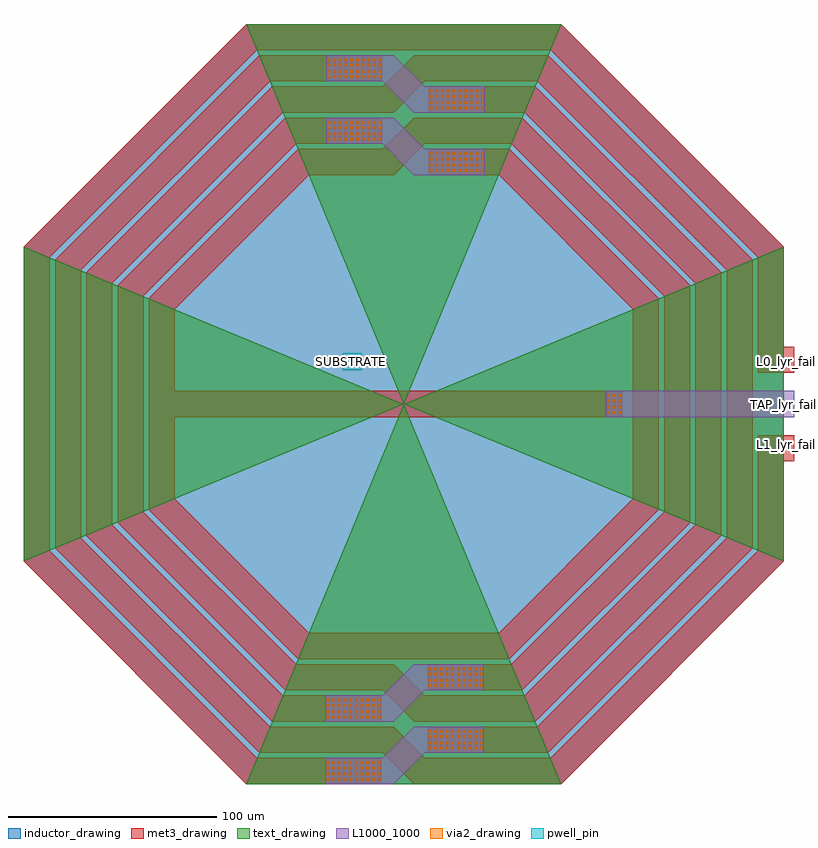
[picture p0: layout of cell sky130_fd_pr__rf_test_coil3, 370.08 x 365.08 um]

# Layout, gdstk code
import gdstk
lib = gdstk.Library(unit=1e-6, precision=1e-09)
def R(c, l, rs):  # rectangles x0, y0, x1, y1
    for r in rs: c.add(gdstk.rectangle(r[:2], r[2:], *l))
def A(c, l, x, y, w, h, nx, ny, dx, dy):  # array of equal rectangles
    R(c, l, [(x+i*dx, y+j*dy, x+i*dx+w, y+j*dy+h) for i in range(nx) for j in range(ny)])
def P(c, l, *ps):  # polygons
    for p in ps: c.add(gdstk.Polygon(p, *l))
via2_drawing = (69, 44)
met3_drawing = (70, 20)
inductor_drawing = (82, 24)
text_drawing = (83, 44)
pwell_pin = (122, 16)
L1000_1000 = (1000, 1000)

sky130_fd_pr__rf_test_co = lib.new_cell('sky130_fd_pr__rf_test_coil3')
A(sky130_fd_pr__rf_test_co, via2_drawing, -34.56, -180.895, 1.2, 1.2, 3, 2, 2.77, 2.47)
A(sky130_fd_pr__rf_test_co, via2_drawing, -20.71, -180.895, 1.2, 1.2, 3, 2, 2.77, 2.47)
A(sky130_fd_pr__rf_test_co, via2_drawing, -34.56, -175.355, 1.2, 1.2, 3, 2, 2.77, 2.47)
A(sky130_fd_pr__rf_test_co, via2_drawing, -20.71, -175.355, 1.2, 1.2, 3, 2, 2.77, 2.47)
A(sky130_fd_pr__rf_test_co, via2_drawing, 14.625, -165.88, 1.2, 1.2, 3, 2, 2.77, 2.47)
A(sky130_fd_pr__rf_test_co, via2_drawing, 28.475, -165.88, 1.2, 1.2, 3, 2, 2.77, 2.47)
A(sky130_fd_pr__rf_test_co, via2_drawing, 14.625, -160.34, 1.2, 1.2, 3, 2, 2.77, 2.47)
A(sky130_fd_pr__rf_test_co, via2_drawing, 28.475, -160.34, 1.2, 1.2, 3, 2, 2.77, 2.47)
A(sky130_fd_pr__rf_test_co, via2_drawing, -34.56, -150.875, 1.2, 1.2, 3, 2, 2.77, 2.47)
A(sky130_fd_pr__rf_test_co, via2_drawing, -20.71, -150.875, 1.2, 1.2, 3, 2, 2.77, 2.47)
A(sky130_fd_pr__rf_test_co, via2_drawing, -34.56, -145.335, 1.2, 1.2, 3, 2, 2.77, 2.47)
A(sky130_fd_pr__rf_test_co, via2_drawing, -20.71, -145.335, 1.2, 1.2, 3, 2, 2.77, 2.47)
A(sky130_fd_pr__rf_test_co, via2_drawing, 14.625, -135.87, 1.2, 1.2, 3, 2, 2.77, 2.47)
A(sky130_fd_pr__rf_test_co, via2_drawing, 28.475, -135.87, 1.2, 1.2, 3, 2, 2.77, 2.47)
A(sky130_fd_pr__rf_test_co, via2_drawing, 14.625, -130.33, 1.2, 1.2, 3, 2, 2.77, 2.47)
A(sky130_fd_pr__rf_test_co, via2_drawing, 28.475, -130.33, 1.2, 1.2, 3, 2, 2.77, 2.47)
A(sky130_fd_pr__rf_test_co, via2_drawing, 15.18, 111.645, 1.2, 1.2, 3, 2, 2.77, 2.47)
A(sky130_fd_pr__rf_test_co, via2_drawing, 29.03, 111.645, 1.2, 1.2, 3, 2, 2.77, 2.47)
A(sky130_fd_pr__rf_test_co, via2_drawing, 15.18, 117.185, 1.2, 1.2, 3, 2, 2.77, 2.47)
A(sky130_fd_pr__rf_test_co, via2_drawing, 29.03, 117.185, 1.2, 1.2, 3, 2, 2.77, 2.47)
A(sky130_fd_pr__rf_test_co, via2_drawing, -33.995, 126.655, 1.2, 1.2, 3, 2, 2.77, 2.47)
A(sky130_fd_pr__rf_test_co, via2_drawing, -20.145, 126.655, 1.2, 1.2, 3, 2, 2.77, 2.47)
A(sky130_fd_pr__rf_test_co, via2_drawing, -33.995, 132.195, 1.2, 1.2, 3, 2, 2.77, 2.47)
A(sky130_fd_pr__rf_test_co, via2_drawing, -20.145, 132.195, 1.2, 1.2, 3, 2, 2.77, 2.47)
A(sky130_fd_pr__rf_test_co, via2_drawing, 15.18, 141.665, 1.2, 1.2, 3, 2, 2.77, 2.47)
A(sky130_fd_pr__rf_test_co, via2_drawing, 29.03, 141.665, 1.2, 1.2, 3, 2, 2.77, 2.47)
A(sky130_fd_pr__rf_test_co, via2_drawing, 15.18, 147.205, 1.2, 1.2, 3, 2, 2.77, 2.47)
A(sky130_fd_pr__rf_test_co, via2_drawing, 29.03, 147.205, 1.2, 1.2, 3, 2, 2.77, 2.47)
A(sky130_fd_pr__rf_test_co, via2_drawing, -33.995, 156.675, 1.2, 1.2, 3, 2, 2.77, 2.47)
A(sky130_fd_pr__rf_test_co, via2_drawing, -20.145, 156.675, 1.2, 1.2, 3, 2, 2.77, 2.47)
A(sky130_fd_pr__rf_test_co, via2_drawing, -33.995, 162.215, 1.2, 1.2, 3, 2, 2.77, 2.47)
A(sky130_fd_pr__rf_test_co, via2_drawing, -20.145, 162.215, 1.2, 1.2, 3, 2, 2.77, 2.47)
R(sky130_fd_pr__rf_test_co, via2_drawing, [(-37.18,-180.895,-35.98,-179.695), (-26.4,-180.895,-25.2,-179.695), (-23.33,-180.895,-22.13,-179.695), (-12.55,-180.895,-11.35,-179.695), (-37.18,-178.425,-35.98,-177.225), (-26.4,-178.425,-25.2,-177.225), (-23.33,-178.425,-22.13,-177.225), (-12.55,-178.425,-11.35,-177.225), (-37.18,-175.355,-35.98,-174.155), (-26.4,-175.355,-25.2,-174.155), (-23.33,-175.355,-22.13,-174.155), (-12.55,-175.355,-11.35,-174.155), (-37.18,-172.885,-35.98,-171.685), (-26.4,-172.885,-25.2,-171.685), (-23.33,-172.885,-22.13,-171.685), (-12.55,-172.885,-11.35,-171.685), (12.005,-165.88,13.205,-164.68), (22.785,-165.88,23.985,-164.68), (25.855,-165.88,27.055,-164.68), (36.635,-165.88,37.835,-164.68), (12.005,-163.41,13.205,-162.21), (22.785,-163.41,23.985,-162.21), (25.855,-163.41,27.055,-162.21), (36.635,-163.41,37.835,-162.21), (12.005,-160.34,13.205,-159.14), (22.785,-160.34,23.985,-159.14), (25.855,-160.34,27.055,-159.14), (36.635,-160.34,37.835,-159.14), (12.005,-157.87,13.205,-156.67), (22.785,-157.87,23.985,-156.67), (25.855,-157.87,27.055,-156.67), (36.635,-157.87,37.835,-156.67), (-37.18,-150.875,-35.98,-149.675), (-26.4,-150.875,-25.2,-149.675), (-23.33,-150.875,-22.13,-149.675), (-12.55,-150.875,-11.35,-149.675), (-37.18,-148.405,-35.98,-147.205), (-26.4,-148.405,-25.2,-147.205), (-23.33,-148.405,-22.13,-147.205), (-12.55,-148.405,-11.35,-147.205), (-37.18,-145.335,-35.98,-144.135), (-26.4,-145.335,-25.2,-144.135), (-23.33,-145.335,-22.13,-144.135), (-12.55,-145.335,-11.35,-144.135), (-37.18,-142.865,-35.98,-141.665), (-26.4,-142.865,-25.2,-141.665), (-23.33,-142.865,-22.13,-141.665), (-12.55,-142.865,-11.35,-141.665), (12.005,-135.87,13.205,-134.67), (22.785,-135.87,23.985,-134.67), (25.855,-135.87,27.055,-134.67), (36.635,-135.87,37.835,-134.67), (12.005,-133.4,13.205,-132.2), (22.785,-133.4,23.985,-132.2), (25.855,-133.4,27.055,-132.2), (36.635,-133.4,37.835,-132.2), (12.005,-130.33,13.205,-129.13), (22.785,-130.33,23.985,-129.13), (25.855,-130.33,27.055,-129.13), (36.635,-130.33,37.835,-129.13), (12.005,-127.86,13.205,-126.66), (22.785,-127.86,23.985,-126.66), (25.855,-127.86,27.055,-126.66), (36.635,-127.86,37.835,-126.66), (97.8,-4.605,99,-3.405), (100.42,-4.605,101.62,-3.405), (103.19,-4.605,104.39,-3.405), (97.8,-2.135,99,-0.935), (100.42,-2.135,101.62,-0.935), (103.19,-2.135,104.39,-0.935), (97.8,0.935,99,2.135), (100.42,0.935,101.62,2.135), (103.19,0.935,104.39,2.135), (97.8,3.405,99,4.605), (100.42,3.405,101.62,4.605), (103.19,3.405,104.39,4.605), (12.56,111.645,13.76,112.845), (23.34,111.645,24.54,112.845), (26.41,111.645,27.61,112.845), (37.19,111.645,38.39,112.845), (12.56,114.115,13.76,115.315), (23.34,114.115,24.54,115.315), (26.41,114.115,27.61,115.315), (37.19,114.115,38.39,115.315), (12.56,117.185,13.76,118.385), (23.34,117.185,24.54,118.385), (26.41,117.185,27.61,118.385), (37.19,117.185,38.39,118.385), (12.56,119.655,13.76,120.855), (23.34,119.655,24.54,120.855), (26.41,119.655,27.61,120.855), (37.19,119.655,38.39,120.855), (-36.615,126.655,-35.415,127.855), (-25.835,126.655,-24.635,127.855), (-22.765,126.655,-21.565,127.855), (-11.985,126.655,-10.785,127.855), (-36.615,129.125,-35.415,130.325), (-25.835,129.125,-24.635,130.325), (-22.765,129.125,-21.565,130.325), (-11.985,129.125,-10.785,130.325), (-36.615,132.195,-35.415,133.395), (-25.835,132.195,-24.635,133.395), (-22.765,132.195,-21.565,133.395), (-11.985,132.195,-10.785,133.395), (-36.615,134.665,-35.415,135.865), (-25.835,134.665,-24.635,135.865), (-22.765,134.665,-21.565,135.865), (-11.985,134.665,-10.785,135.865), (12.56,141.665,13.76,142.865), (23.34,141.665,24.54,142.865), (26.41,141.665,27.61,142.865), (37.19,141.665,38.39,142.865), (12.56,144.135,13.76,145.335), (23.34,144.135,24.54,145.335), (26.41,144.135,27.61,145.335), (37.19,144.135,38.39,145.335), (12.56,147.205,13.76,148.405), (23.34,147.205,24.54,148.405), (26.41,147.205,27.61,148.405), (37.19,147.205,38.39,148.405), (12.56,149.675,13.76,150.875), (23.34,149.675,24.54,150.875), (26.41,149.675,27.61,150.875), (37.19,149.675,38.39,150.875), (-36.615,156.675,-35.415,157.875), (-25.835,156.675,-24.635,157.875), (-22.765,156.675,-21.565,157.875), (-11.985,156.675,-10.785,157.875), (-36.615,159.145,-35.415,160.345), (-25.835,159.145,-24.635,160.345), (-22.765,159.145,-21.565,160.345), (-11.985,159.145,-10.785,160.345), (-36.615,162.215,-35.415,163.415), (-25.835,162.215,-24.635,163.415), (-22.765,162.215,-21.565,163.415), (-11.985,162.215,-10.785,163.415), (-36.615,164.685,-35.415,165.885), (-25.835,164.685,-24.635,165.885), (-22.765,164.685,-21.565,165.885), (-11.985,164.685,-10.785,165.885)])
R(sky130_fd_pr__rf_test_co, met3_drawing, [(-37.72,-181.44,-10.8,-171.14), (11.455,-166.43,38.375,-156.13), (-37.72,-151.42,-10.8,-141.12), (11.455,-136.41,38.375,-126.11), (97.255,-5.15,104.785,5.15), (12.015,111.1,38.935,121.4), (-37.16,126.11,-10.24,136.41), (12.015,141.12,38.935,151.42), (-37.16,156.13,-10.24,166.43)])
P(sky130_fd_pr__rf_test_co, met3_drawing, [(173.7,66.78),(66.78,173.7),(75.62,182.54),(182.54,75.62)],
  [(75.62,-182.54),(66.78,-173.7),(173.7,-66.78),(182.54,-75.62)],
  [(-75.62,-182.54),(-182.54,-75.62),(-173.7,-66.78),(-66.78,-173.7)],
  [(-173.7,66.78),(-182.54,75.62),(-75.62,182.54),(-66.78,173.7)],
  [(158.69,60.565),(60.565,158.69),(69.405,167.53),(167.53,69.405)],
  [(69.405,-167.53),(60.565,-158.69),(158.69,-60.565),(167.53,-69.405)],
  [(-69.405,-167.53),(-167.53,-69.405),(-158.69,-60.565),(-60.565,-158.69)],
  [(-158.69,60.565),(-167.53,69.405),(-69.405,167.53),(-60.565,158.69)],
  [(4.935,-182.54),(-10.075,-167.53),(-69.405,-167.53),(-69.405,-155.03),(-4.895,-155.03),(10.115,-170.04),(75.62,-170.04),(75.62,-182.54)],
  [(4.935,-152.52),(-10.075,-137.51),(-56.97,-137.51),(-56.97,-125.01),(-4.895,-125.01),(10.115,-140.02),(63.185,-140.02),(63.185,-152.52)],
  [(143.68,54.345),(54.345,143.68),(63.185,152.52),(152.52,63.185)],
  [(63.185,-152.52),(54.345,-143.68),(143.68,-54.345),(152.52,-63.185)],
  [(-63.185,-152.52),(-152.52,-63.185),(-143.68,-54.345),(-54.345,-143.68)],
  [(-143.68,54.345),(-152.52,63.185),(-63.185,152.52),(-54.345,143.68)],
  [(128.67,48.13),(48.13,128.67),(56.97,137.51),(137.51,56.97)],
  [(56.97,-137.51),(48.13,-128.67),(128.67,-48.13),(137.51,-56.97)],
  [(-56.97,-137.51),(-137.51,-56.97),(-128.67,-48.13),(-48.13,-128.67)],
  [(13.115,140.02),(12.015,141.12),(12.015,151.42),(13.115,152.52),(63.185,152.52),(63.185,140.02)],
  [(-128.67,48.13),(-137.51,56.97),(-56.97,137.51),(-48.13,128.67)],
  [(12.555,-137.51),(11.455,-136.41),(11.455,-126.11),(12.555,-125.01),(56.97,-125.01),(56.97,-137.51)],
  [(113.66,41.91),(41.91,113.66),(50.75,122.5),(122.5,50.75)],
  [(50.75,-122.5),(41.91,-113.66),(113.66,-41.91),(122.5,-50.75)],
  [(-50.75,-122.5),(-122.5,-50.75),(-113.66,-41.91),(-41.91,-113.66)],
  [(-113.66,41.91),(-122.5,50.75),(-50.75,122.5),(-41.91,113.66)],
  [(-63.185,140.02),(-63.185,152.52),(-10.075,152.52),(4.935,167.53),(69.405,167.53),(69.405,155.03),(10.115,155.03),(-4.895,140.02)],
  [(-50.75,110),(-50.75,122.5),(-10.075,122.5),(4.935,137.51),(56.97,137.51),(56.97,125.01),(10.115,125.01),(-4.895,110)],
  [(-75.62,-182.54),(-75.62,-170.04),(-11.9,-170.04),(-10.8,-171.14),(-10.8,-181.44),(-11.9,-182.54)],
  [(12.555,-167.53),(11.455,-166.43),(11.455,-156.13),(12.555,-155.03),(69.405,-155.03),(69.405,-167.53)],
  [(13.115,110),(12.015,111.1),(12.015,121.4),(13.115,122.5),(50.75,122.5),(50.75,110)],
  [(-56.97,125.01),(-56.97,137.51),(-11.34,137.51),(-10.24,136.41),(-10.24,126.11),(-11.34,125.01)],
  [(-63.185,-152.52),(-63.185,-140.02),(-11.9,-140.02),(-10.8,-141.12),(-10.8,-151.42),(-11.9,-152.52)],
  [(-69.405,155.03),(-69.405,167.53),(-11.34,167.53),(-10.24,166.43),(-10.24,156.13),(-11.34,155.03)])
P(sky130_fd_pr__rf_test_co, inductor_drawing, [(-75.62,-182.54),(-182.54,-75.62),(-182.54,75.62),(-75.62,182.54),(75.62,182.54),(182.54,75.62),(182.54,-75.62),(75.62,-182.54)])
P(sky130_fd_pr__rf_test_co, text_drawing, [(0,0),(-75.624,182.54),(75.624,182.54)],
  [(182.54,-75.624),(0,0),(182.54,75.624)],
  [(-75.624,-182.54),(0,0),(75.624,-182.54)],
  [(-182.54,-75.624),(-182.54,75.624),(0,0)])
R(sky130_fd_pr__rf_test_co, pwell_pin, [(-29.216,16.287,-20.317,24.347)])
R(sky130_fd_pr__rf_test_co, L1000_1000, [(-37.615,-181.335,-10.905,-171.245), (11.56,-166.325,38.27,-156.235), (-37.615,-151.315,-10.905,-141.225), (11.56,-136.305,38.27,-126.215), (97.04,-6.25,187.54,6.25), (97.36,-5.045,104.68,5.045), (12.12,111.205,38.83,121.295), (-37.055,126.215,-10.345,136.305), (12.12,141.225,38.83,151.315), (-37.055,156.235,-10.345,166.325)])
P(sky130_fd_pr__rf_test_co, L1000_1000, [(-37.72,-182.54),(-37.72,-170.04),(-10.115,-170.04),(4.895,-155.03),(38.375,-155.03),(38.375,-167.53),(10.075,-167.53),(-4.935,-182.54)],
  [(-37.72,-152.52),(-37.72,-140.02),(-10.115,-140.02),(4.895,-125.01),(38.375,-125.01),(38.375,-137.51),(10.075,-137.51),(-4.935,-152.52)],
  [(4.895,140.02),(-10.115,155.03),(-37.16,155.03),(-37.16,167.53),(-4.935,167.53),(10.075,152.52),(38.935,152.52),(38.935,140.02)],
  [(4.895,110),(-10.115,125.01),(-37.16,125.01),(-37.16,137.51),(-4.935,137.51),(10.075,122.5),(38.935,122.5),(38.935,110)])
sky130_fd_pr__rf_test_co.add(gdstk.FlexPath([(75.62,176.29),(0,176.29)], 12.5, ends="flush", simple_path=True, layer=70, datatype=20))  # met3_drawing
sky130_fd_pr__rf_test_co.add(gdstk.FlexPath([(176.29,15),(176.29,75.62)], 12.5, ends="flush", simple_path=True, layer=70, datatype=20))  # met3_drawing
sky130_fd_pr__rf_test_co.add(gdstk.FlexPath([(-176.29,75.62),(-176.29,-75.62)], 12.5, ends="flush", simple_path=True, layer=70, datatype=20))  # met3_drawing
sky130_fd_pr__rf_test_co.add(gdstk.FlexPath([(0,176.29),(-75.62,176.29)], 12.5, ends="flush", simple_path=True, layer=70, datatype=20))  # met3_drawing
sky130_fd_pr__rf_test_co.add(gdstk.FlexPath([(161.28,-69.405),(161.28,69.405)], 12.5, ends="flush", simple_path=True, layer=70, datatype=20))  # met3_drawing
sky130_fd_pr__rf_test_co.add(gdstk.FlexPath([(-161.28,69.405),(-161.28,-69.405)], 12.5, ends="flush", simple_path=True, layer=70, datatype=20))  # met3_drawing
sky130_fd_pr__rf_test_co.add(gdstk.FlexPath([(146.27,-63.185),(146.27,63.185)], 12.5, ends="flush", simple_path=True, layer=70, datatype=20))  # met3_drawing
sky130_fd_pr__rf_test_co.add(gdstk.FlexPath([(-146.27,63.185),(-146.27,-63.185)], 12.5, ends="flush", simple_path=True, layer=70, datatype=20))  # met3_drawing
sky130_fd_pr__rf_test_co.add(gdstk.FlexPath([(131.26,-56.97),(131.26,56.97)], 12.5, ends="flush", simple_path=True, layer=70, datatype=20))  # met3_drawing
sky130_fd_pr__rf_test_co.add(gdstk.FlexPath([(-131.26,56.97),(-131.26,-56.97)], 12.5, ends="flush", simple_path=True, layer=70, datatype=20))  # met3_drawing
sky130_fd_pr__rf_test_co.add(gdstk.FlexPath([(116.25,-50.75),(116.25,50.75)], 12.5, ends="flush", simple_path=True, layer=70, datatype=20))  # met3_drawing
sky130_fd_pr__rf_test_co.add(gdstk.FlexPath([(-50.75,-116.25),(50.75,-116.25)], 12.5, ends="flush", simple_path=True, layer=70, datatype=20))  # met3_drawing
sky130_fd_pr__rf_test_co.add(gdstk.FlexPath([(-116.25,50.75),(-116.25,-50.75)], 12.5, ends="flush", simple_path=True, layer=70, datatype=20))  # met3_drawing
sky130_fd_pr__rf_test_co.add(gdstk.FlexPath([(-122.5,0),(105,0)], 12.5, ends="flush", simple_path=True, layer=70, datatype=20))  # met3_drawing
sky130_fd_pr__rf_test_co.add(gdstk.FlexPath([(170.04,21.25),(187.54,21.25)], 12.5, ends="flush", simple_path=True, layer=70, datatype=20))  # met3_drawing
sky130_fd_pr__rf_test_co.add(gdstk.FlexPath([(170.04,-21.25),(187.54,-21.25)], 12.5, ends="flush", simple_path=True, layer=70, datatype=20))  # met3_drawing
sky130_fd_pr__rf_test_co.add(gdstk.FlexPath([(176.29,-75.62),(176.29,-15)], 12.5, ends="flush", simple_path=True, layer=70, datatype=20))  # met3_drawing
sky130_fd_pr__rf_test_co.add(gdstk.Label('SUBSTRATE', (-25.354,20.317), layer=64, texttype=59))
sky130_fd_pr__rf_test_co.add(gdstk.Label('TAP_lyr_fail', (184.175,-0.023), layer=69, texttype=5))
sky130_fd_pr__rf_test_co.add(gdstk.Label('L0_lyr_fail', (184.822,20.31), layer=70, texttype=5))
sky130_fd_pr__rf_test_co.add(gdstk.Label('L1_lyr_fail', (184.422,-19.612), layer=70, texttype=5))

lib.write_gds('sky130_fd_pr__rf_test_coil3.gds')
